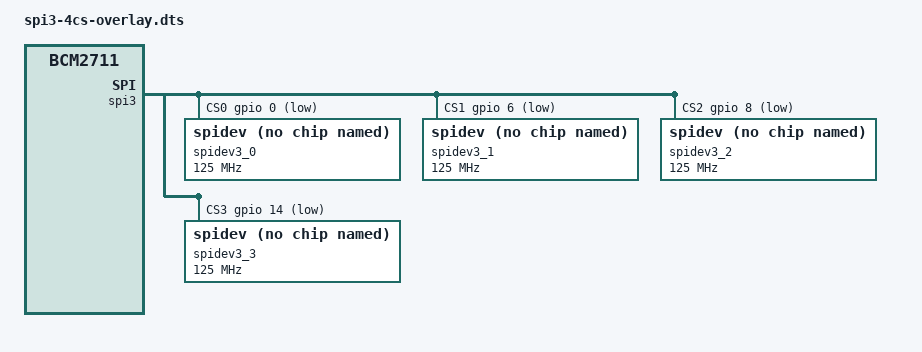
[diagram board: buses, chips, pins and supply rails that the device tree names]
/dts-v1/;
/plugin/;

/ {
	compatible = "brcm,bcm2711";

	fragment@0 {
		target = <&spi3_cs_pins>;
		frag0: __overlay__ {
			brcm,pins = <0 6 8 14>;
			brcm,function = <1>; /* output */
		};
	};

	fragment@1 {
		target = <&spi3>;
		frag1: __overlay__ {
			/* needed to avoid dtc warning */
			#address-cells = <1>;
			#size-cells = <0>;

			cs-gpios = <&gpio 0 1>, <&gpio 6 1>, <&gpio 8 1>, <&gpio 14 1>;
			status = "okay";

			spidev3_0: spidev@0 {
				compatible = "spidev";
				reg = <0>;      /* CE0 */
				#address-cells = <1>;
				#size-cells = <0>;
				spi-max-frequency = <125000000>;
				status = "okay";
			};

			spidev3_1: spidev@1 {
				compatible = "spidev";
				reg = <1>;      /* CE1 */
				#address-cells = <1>;
				#size-cells = <0>;
				spi-max-frequency = <125000000>;
				status = "okay";
			};

			spidev3_2: spidev@2 {
				compatible = "spidev";
				reg = <2>;      /* CE2 */
				#address-cells = <1>;
				#size-cells = <0>;
				spi-max-frequency = <125000000>;
				status = "okay";
			};

			spidev3_3: spidev@3 {
				compatible = "spidev";
				reg = <3>;      /* CE3 */
				#address-cells = <1>;
				#size-cells = <0>;
				spi-max-frequency = <125000000>;
				status = "okay";
			};
		};
	};

	__overrides__ {
		cs0_pin = <&frag0>,"brcm,pins:0",
		        <&frag1>,"cs-gpios:4";
		cs1_pin = <&frag0>,"brcm,pins:4",
		        <&frag1>,"cs-gpios:16";
		cs2_pin = <&frag0>,"brcm,pins:8",
		        <&frag1>,"cs-gpios:28";
		cs3_pin = <&frag0>,"brcm,pins:12",
		        <&frag1>,"cs-gpios:40";

		cs0_spidev = <&spidev3_0>,"status";
		cs1_spidev = <&spidev3_1>,"status";
		cs2_spidev = <&spidev3_2>,"status";
		cs3_spidev = <&spidev3_3>,"status";
	};
};
